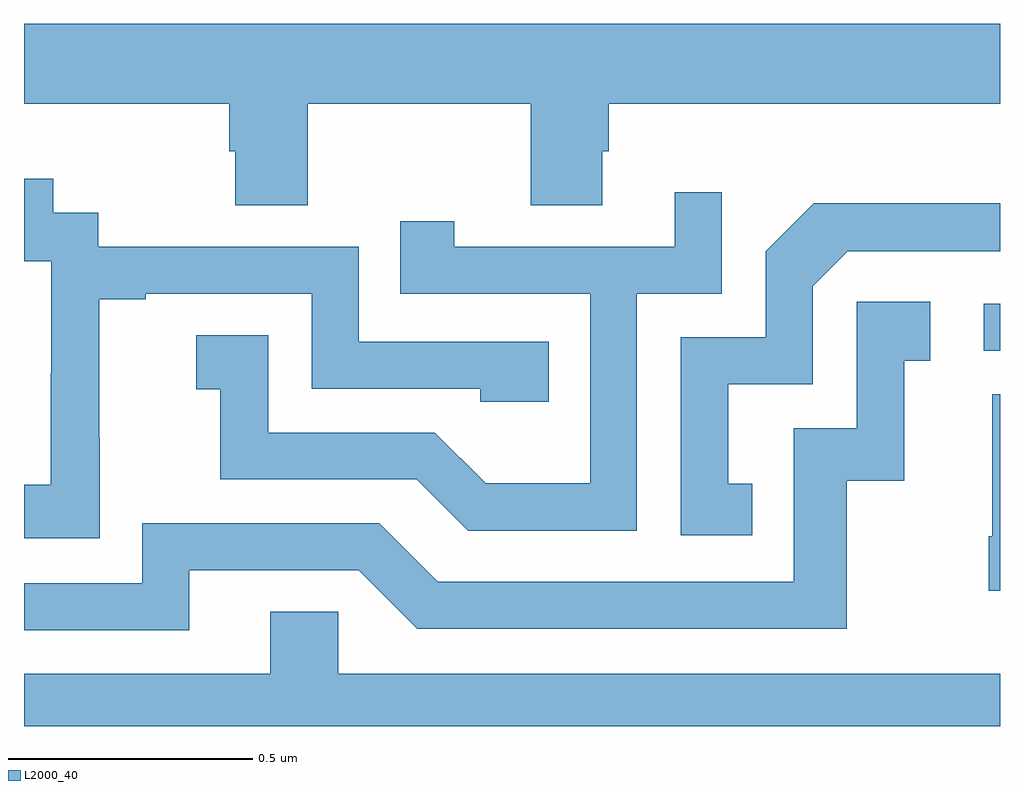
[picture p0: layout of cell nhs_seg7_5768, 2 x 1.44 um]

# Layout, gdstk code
import gdstk
lib = gdstk.Library(unit=1e-6, precision=1e-09)
def R(c, l, rs):  # rectangles x0, y0, x1, y1
    for r in rs: c.add(gdstk.rectangle(r[:2], r[2:], *l))
def P(c, l, *ps):  # polygons
    for p in ps: c.add(gdstk.Polygon(p, *l))
L2000_40 = (2000, 40)

nhs_seg7_5768 = lib.new_cell('nhs_seg7_5768')
R(nhs_seg7_5768, L2000_40, [(191.967,1006.77,192,1006.866)])
P(nhs_seg7_5768, L2000_40, [(190.581,1007.276),(191.038,1007.276),(191.038,1007.068),(191.185,1007.068),(191.185,1007.178),(191.198,1007.178),(191.198,1007.276),(192,1007.276),(192,1007.44),(190,1007.44),(190,1007.276),(190.421,1007.276),(190.421,1007.178),(190.433,1007.178),(190.433,1007.068),(190.581,1007.068)],
  [(190.155,1006.591),(190.154,1006.591),(190.154,1006.875),(190.249,1006.875),(190.249,1006.887),(190.59,1006.887),(190.59,1006.692),(190.935,1006.692),(190.935,1006.665),(191.075,1006.665),(191.075,1006.788),(190.686,1006.788),(190.686,1006.983),(190.152,1006.983),(190.152,1007.052),(190.06,1007.052),(190.06,1007.122),(190,1007.122),(190,1006.953),(190.056,1006.953),(190.056,1006.724),(190.055,1006.724),(190.055,1006.495),(190,1006.495),(190,1006.385),(190.155,1006.385)],
  [(191.256,1006.887),(191.43,1006.887),(191.43,1007.095),(191.333,1007.095),(191.333,1006.983),(190.882,1006.983),(190.882,1007.035),(190.771,1007.035),(190.771,1006.887),(191.16,1006.887),(191.16,1006.498),(190.946,1006.498),(190.842,1006.602),(190.5,1006.602),(190.5,1006.801),(190.353,1006.801),(190.353,1006.691),(190.402,1006.691),(190.402,1006.506),(190.805,1006.506),(190.91,1006.401),(191.256,1006.401)],
  [(191.492,1006.497),(191.443,1006.497),(191.443,1006.701),(191.616,1006.701),(191.616,1006.902),(191.688,1006.974),(192,1006.974),(192,1007.072),(191.618,1007.072),(191.52,1006.974),(191.52,1006.797),(191.346,1006.797),(191.346,1006.392),(191.492,1006.392)],
  [(190.339,1006.32),(190.686,1006.32),(190.806,1006.2),(191.686,1006.2),(191.686,1006.503),(191.804,1006.503),(191.804,1006.749),(191.857,1006.749),(191.857,1006.87),(191.706,1006.87),(191.706,1006.611),(191.577,1006.611),(191.577,1006.296),(190.848,1006.296),(190.728,1006.416),(190.242,1006.416),(190.242,1006.293),(190,1006.293),(190,1006.197),(190.339,1006.197)],
  [(192,1006.681),(191.984,1006.681),(191.984,1006.39),(191.977,1006.39),(191.977,1006.278),(192,1006.278)],
  [(192,1006.108),(190.644,1006.108),(190.644,1006.235),(190.505,1006.235),(190.505,1006.108),(190,1006.108),(190,1006),(192,1006)])

lib.write_gds('nhs_seg7_5768.gds')
